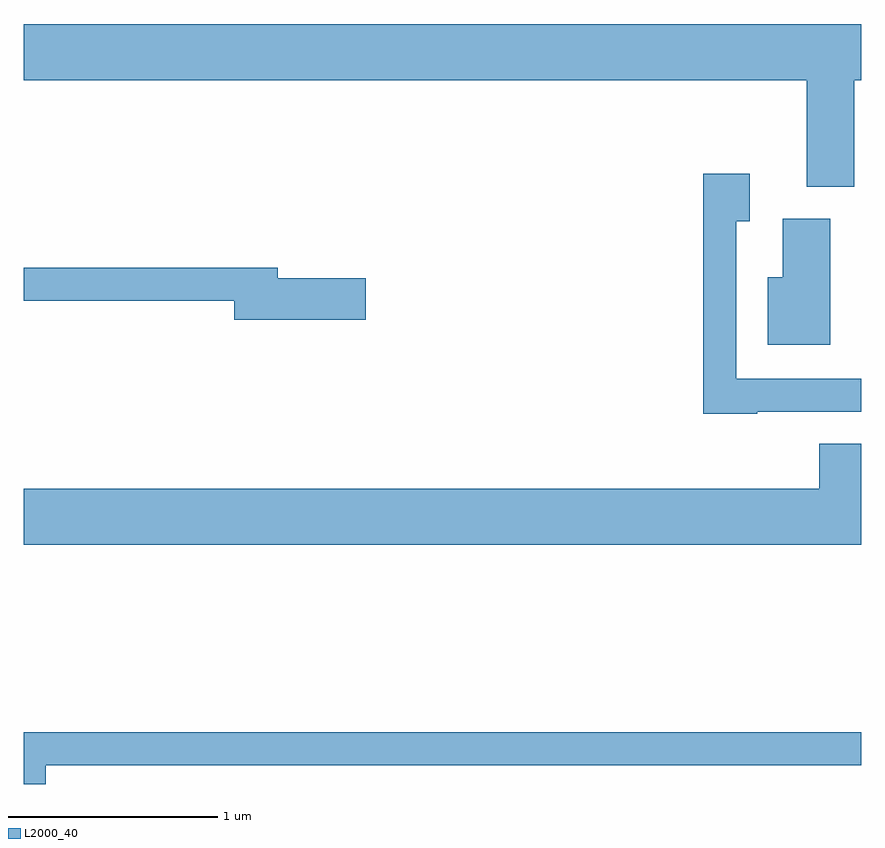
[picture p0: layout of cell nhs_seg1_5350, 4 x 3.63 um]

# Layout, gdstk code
import gdstk
lib = gdstk.Library(unit=1e-6, precision=1e-09)
def P(c, l, *ps):  # polygons
    for p in ps: c.add(gdstk.Polygon(p, *l))
L2000_40 = (2000, 40)

nhs_seg1_5350 = lib.new_cell('nhs_seg1_5350')
P(nhs_seg1_5350, L2000_40, [(349.579,955.076),(349.611,955.076),(349.611,955.344),(345.611,955.344),(345.611,955.076),(349.351,955.076),(349.351,954.566),(349.579,954.566)],
  [(349.115,953.491),(349.611,953.491),(349.611,953.649),(349.014,953.649),(349.014,954.401),(349.079,954.401),(349.079,954.629),(348.856,954.629),(348.856,953.481),(349.115,953.481)],
  [(349.464,954.414),(349.236,954.414),(349.236,954.134),(349.166,954.134),(349.166,953.811),(349.464,953.811)],
  [(347.244,954.129),(346.824,954.129),(346.824,954.179),(345.611,954.179),(345.611,954.021),(346.616,954.021),(346.616,953.931),(347.244,953.931)],
  [(349.611,953.339),(349.411,953.339),(349.411,953.124),(345.611,953.124),(345.611,952.856),(349.611,952.856)],
  [(345.714,951.801),(349.611,951.801),(349.611,951.959),(345.611,951.959),(345.611,951.712),(345.714,951.712)])

lib.write_gds('nhs_seg1_5350.gds')
